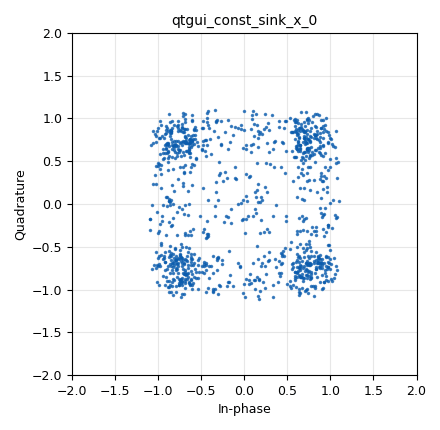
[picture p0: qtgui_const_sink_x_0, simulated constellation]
<?xml version='1.0' encoding='utf-8'?>
<?grc format='1' created='3.7.6'?>
<flow_graph>
<block>
<key>options</key>
<param><key>id</key><value>top_block</value></param>
<param><key>generate_options</key><value>qt_gui</value></param>
<param><key>category</key><value>Custom</value></param>
</block>
<block>
<key>variable</key>
<param><key>id</key><value>samp_rate</value></param>
<param><key>value</key><value>32000</value></param>
</block>
<block>
<key>variable</key>
<param><key>id</key><value>excess_bw</value></param>
<param><key>value</key><value>0.35</value></param>
</block>
<block>
<key>variable</key>
<param><key>id</key><value>sps</value></param>
<param><key>value</key><value>16</value></param>
</block>
<block>
<key>audio_sink</key>
<param><key>id</key><value>audio_sink_0</value></param>
<param><key>samp_rate</key><value>samp_rate</value></param>
</block>
<block>
<key>blocks_complex_to_real</key>
<param><key>id</key><value>blocks_complex_to_real_0</value></param>
</block>
<block>
<key>blocks_throttle</key>
<param><key>id</key><value>blocks_throttle_0_0</value></param>
<param><key>_enabled</key><value>False</value></param>
<param><key>type</key><value>complex</value></param>
<param><key>samples_per_second</key><value>samp_rate</value></param>
</block>
<block>
<key>analog_sig_source_x</key>
<param><key>id</key><value>analog_sig_source_x_0</value></param>
<param><key>type</key><value>complex</value></param>
<param><key>samp_rate</key><value>samp_rate</value></param>
<param><key>waveform</key><value>analog.GR_SIN_WAVE</value></param>
<param><key>freq</key><value>carrier_freq</value></param>
<param><key>amp</key><value>1</value></param>
<param><key>offset</key><value>0</value></param>
</block>
<block>
<key>blocks_wavfile_sink</key>
<param><key>id</key><value>blocks_wavfile_sink_0</value></param>
<param><key>_enabled</key><value>False</value></param>
<param><key>file</key><value>/home/arun/Desktop/wavin</value></param>
<param><key>samp_rate</key><value>samp_rate</value></param>
<param><key>bits_per_sample</key><value>8</value></param>
</block>
<block>
<key>qtgui_const_sink_x</key>
<param><key>id</key><value>qtgui_const_sink_x_0</value></param>
<param><key>type</key><value>complex</value></param>
<param><key>size</key><value>1024</value></param>
</block>
<block>
<key>variable_constellation_rect</key>
<param><key>id</key><value>qpsk_0</value></param>
<param><key>sym_map</key><value>[0, 1, 3, 2]</value></param>
<param><key>const_points</key><value>[-1-1j, -1+1j, 1+1j, 1-1j]</value></param>
<param><key>rot_sym</key><value>4</value></param>
<param><key>real_sect</key><value>2</value></param>
<param><key>imag_sect</key><value>2</value></param>
<param><key>w_real_sect</key><value>1</value></param>
<param><key>w_imag_sect</key><value>1</value></param>
<param><key>softbits_lut</key><value>None</value></param>
</block>
<block>
<key>variable_constellation_rect</key>
<param><key>id</key><value>qam</value></param>
<param><key>sym_map</key><value>[0, 1, 2, 3]</value></param>
<param><key>const_points</key><value>[3.0-4.0j, -3.0-4.0j, -3.0+4.0j, 3.0+4.0j]</value></param>
<param><key>rot_sym</key><value>4</value></param>
<param><key>real_sect</key><value>2</value></param>
<param><key>imag_sect</key><value>2</value></param>
<param><key>w_real_sect</key><value>1</value></param>
<param><key>w_imag_sect</key><value>1</value></param>
<param><key>softbits_lut</key><value>None</value></param>
</block>
<block>
<key>variable_constellation_rect</key>
<param><key>id</key><value>qpsk_1</value></param>
<param><key>sym_map</key><value>[0, 1, 2, 3]</value></param>
<param><key>const_points</key><value>[0.707+0.707j, -0.707+0.707j, -0.707-0.707j, 0.707-0.707j]</value></param>
<param><key>rot_sym</key><value>4</value></param>
<param><key>real_sect</key><value>2</value></param>
<param><key>imag_sect</key><value>2</value></param>
<param><key>w_real_sect</key><value>1</value></param>
<param><key>w_imag_sect</key><value>1</value></param>
<param><key>softbits_lut</key><value>None</value></param>
</block>
<block>
<key>variable_constellation_rect</key>
<param><key>id</key><value>bpsk</value></param>
<param><key>sym_map</key><value>[0, 1]</value></param>
<param><key>const_points</key><value>[-1, 1]</value></param>
<param><key>rot_sym</key><value>2</value></param>
<param><key>real_sect</key><value>2</value></param>
<param><key>imag_sect</key><value>1</value></param>
<param><key>w_real_sect</key><value>1</value></param>
<param><key>w_imag_sect</key><value>1</value></param>
<param><key>softbits_lut</key><value>None</value></param>
</block>
<block>
<key>analog_random_source_x</key>
<param><key>id</key><value>analog_random_source_x_0</value></param>
<param><key>type</key><value>byte</value></param>
<param><key>min</key><value>0</value></param>
<param><key>max</key><value>256</value></param>
<param><key>num_samps</key><value>1000000</value></param>
<param><key>repeat</key><value>False</value></param>
</block>
<block>
<key>blocks_multiply_xx</key>
<param><key>id</key><value>blocks_multiply_xx_0</value></param>
<param><key>type</key><value>complex</value></param>
</block>
<block>
<key>blocks_throttle</key>
<param><key>id</key><value>blocks_throttle_0</value></param>
<param><key>_enabled</key><value>False</value></param>
<param><key>type</key><value>complex</value></param>
<param><key>samples_per_second</key><value>samp_rate</value></param>
</block>
<block>
<key>digital_psk_mod</key>
<param><key>id</key><value>digital_psk_mod_0</value></param>
<param><key>_enabled</key><value>False</value></param>
<param><key>constellation_points</key><value>4</value></param>
<param><key>mod_code</key><value>"gray"</value></param>
<param><key>differential</key><value>True</value></param>
<param><key>samples_per_symbol</key><value>16</value></param>
<param><key>excess_bw</key><value>0.35</value></param>
</block>
<block>
<key>digital_constellation_modulator</key>
<param><key>id</key><value>digital_constellation_modulator_0</value></param>
<param><key>constellation</key><value>qpsk_1</value></param>
<param><key>differential</key><value>True</value></param>
<param><key>samples_per_symbol</key><value>sps</value></param>
<param><key>excess_bw</key><value>excess_bw</value></param>
</block>
<block>
<key>variable_qtgui_range</key>
<param><key>id</key><value>carrier_freq</value></param>
<param><key>label</key><value>carrier_freq</value></param>
<param><key>value</key><value>8000</value></param>
<param><key>start</key><value>8000*0.98</value></param>
<param><key>stop</key><value>8000*1.02</value></param>
<param><key>step</key><value>1</value></param>
<param><key>orient</key><value>Qt.Horizontal</value></param>
</block>
<connection><source_block_id>blocks_complex_to_real_0</source_block_id><sink_block_id>audio_sink_0</sink_block_id><source_key>0</source_key><sink_key>0</sink_key></connection>
<connection><source_block_id>analog_sig_source_x_0</source_block_id><sink_block_id>blocks_throttle_0_0</sink_block_id><source_key>0</source_key><sink_key>0</sink_key></connection>
<connection><source_block_id>analog_random_source_x_0</source_block_id><sink_block_id>digital_constellation_modulator_0</sink_block_id><source_key>0</source_key><sink_key>0</sink_key></connection>
<connection><source_block_id>blocks_complex_to_real_0</source_block_id><sink_block_id>blocks_wavfile_sink_0</sink_block_id><source_key>0</source_key><sink_key>0</sink_key></connection>
<connection><source_block_id>digital_constellation_modulator_0</source_block_id><sink_block_id>blocks_throttle_0</sink_block_id><source_key>0</source_key><sink_key>0</sink_key></connection>
<connection><source_block_id>blocks_multiply_xx_0</source_block_id><sink_block_id>blocks_complex_to_real_0</sink_block_id><source_key>0</source_key><sink_key>0</sink_key></connection>
<connection><source_block_id>blocks_multiply_xx_0</source_block_id><sink_block_id>qtgui_const_sink_x_0</sink_block_id><source_key>0</source_key><sink_key>0</sink_key></connection>
<connection><source_block_id>digital_constellation_modulator_0</source_block_id><sink_block_id>blocks_multiply_xx_0</sink_block_id><source_key>0</source_key><sink_key>0</sink_key></connection>
<connection><source_block_id>analog_sig_source_x_0</source_block_id><sink_block_id>blocks_multiply_xx_0</sink_block_id><source_key>0</source_key><sink_key>1</sink_key></connection>
<connection><source_block_id>blocks_throttle_0_0</source_block_id><sink_block_id>blocks_multiply_xx_0</sink_block_id><source_key>0</source_key><sink_key>1</sink_key></connection>
<connection><source_block_id>blocks_throttle_0</source_block_id><sink_block_id>blocks_multiply_xx_0</sink_block_id><source_key>0</source_key><sink_key>0</sink_key></connection>
<connection><source_block_id>analog_random_source_x_0</source_block_id><sink_block_id>digital_psk_mod_0</sink_block_id><source_key>0</source_key><sink_key>0</sink_key></connection>
<connection><source_block_id>digital_psk_mod_0</source_block_id><sink_block_id>blocks_multiply_xx_0</sink_block_id><source_key>0</source_key><sink_key>0</sink_key></connection>
</flow_graph>
